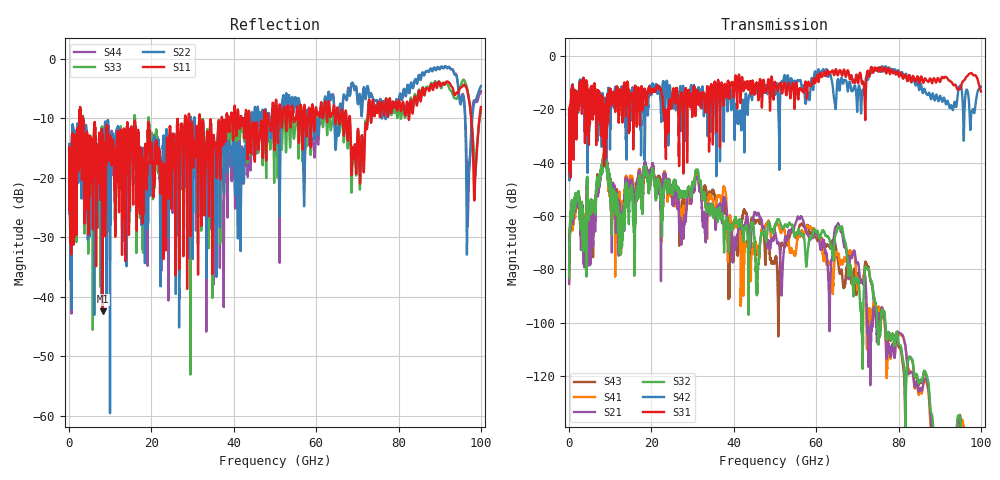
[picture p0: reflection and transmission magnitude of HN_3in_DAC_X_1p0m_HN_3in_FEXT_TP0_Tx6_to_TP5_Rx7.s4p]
# GHz S RI R 45
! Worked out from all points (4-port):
!   4000 points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, 25 MHz to 100 GHz, reference 45 ohm
!   strongest paths, dB at 25 MHz, 25.02 GHz, 50.02 GHz, 75.03 GHz, 100 GHz:
!     S31: -21.6, -16.6, -9.8, -5.2, -13.4
!     S42: -21.7, -14.4, -14.5, -5.1, -11.5
!     S32: -83.1, -50.7, -63.4, -106.8, -178.3
!     S21: -85.4, -51.8, -65.9, -99.8, -177.6
!     S41: -85.2, -52.8, -64.1, -96.0, -186.6
!     S43: -81.6, -50.5, -76.8, -99.4, -187.0
!   lowest |S11| = -42.4 dB at 8.175 GHz (marker M1), VSWR 1.02, Z = 45.6 + j0.333 ohm
!   |S11| at or under -10 dB: 3.377 GHz to 28.12 GHz (24.74 GHz wide, 157 % of centre); 31.8 GHz to 37.03 GHz (5.226 GHz wide, 15.2 % of centre); 68.23 GHz to 72.51 GHz (4.288 GHz wide, 6.09 % of centre) (the widest 3 of 44)
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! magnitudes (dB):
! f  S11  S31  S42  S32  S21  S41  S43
! 25 MHz  -15.5  -21.6  -21.7  -83.1  -85.4  -85.2  -81.6
! 8.175 GHz  -42.4  -28.8  -13.9  -41.9  -41.3  -40.1  -41.3
! 12.55 GHz  -11.9  -14.2  -12.5  -59.8  -61.3  -71.1  -56.6
! 31.05 GHz  -11.8  -13.2  -15.6  -42.8  -45.8  -44.3  -43.5
! 39.02 GHz  -10.8  -15.5  -10.9  -64.8  -64.5  -60.3  -80.4
! 45.73 GHz  -12.6  -11.0  -12.6  -85.0  -59.3  -72.0  -61.8
! 100 GHz  -8.1  -13.4  -11.5  -178.3  -177.6  -186.6  -187.0
